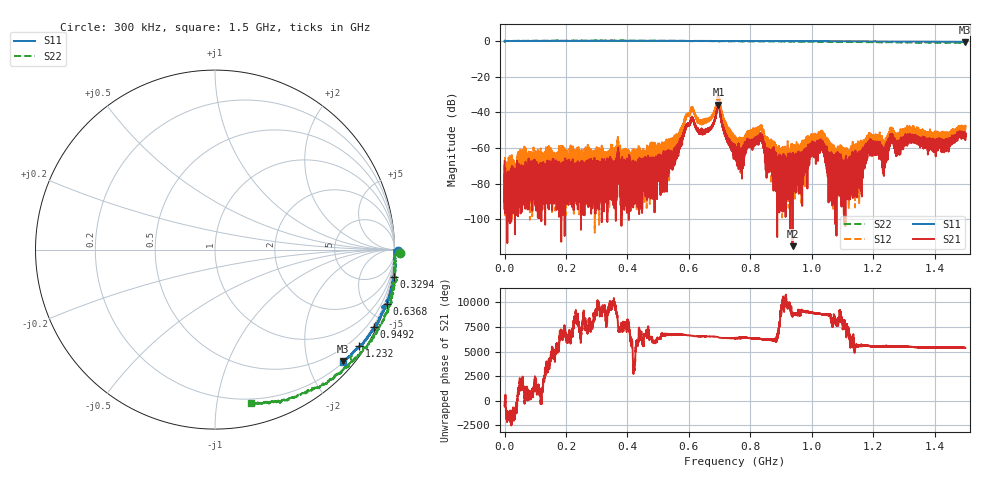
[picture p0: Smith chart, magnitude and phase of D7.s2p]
!Agilent Technologies,N5230C,SG49000117,A.08.50.07
!Agilent N5230C: A.08.50.07
!Date: Thursday, December 07, 2023 06:12:33
!Correction: S11(Full 2 Port(1,2))
!S21(Full 2 Port(1,2))
!S12(Full 2 Port(1,2))
!S22(Full 2 Port(1,2))
!S2P File: Measurements: S11, S21, S12, S22:
# Hz S  RI  R 50
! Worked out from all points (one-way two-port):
!   20001 points, 300 kHz to 1.5 GHz, reference 50 ohm
!   highest |S21| = -35.68 dB at 696.2 MHz (marker M1); lowest = -115.0 dB at 937.3 MHz (marker M2)
!   lowest |S11| = -0.5 dB at 1.497 GHz (marker M3), VSWR 34.57, Z = 11.6 - j132 ohm
!   |S11| at or under -10 dB: nowhere
!   |S22| runs from -1.2 to 0.3 dB; largest |S21 - S12| = 0.015
!   S11 on the Smith chart (normalised r, x): 300 kHz: open; 329.4 MHz: -1, -13; 636.8 MHz: -0.07, -6.52; 949.2 MHz: 0.13, -4.34; 1.232 GHz: 0.19, -3.28; 1.5 GHz: 0.22, -2.65
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300000  1.017 -0.00967  -0.000374 -0.00021  0.000124 0.000302  1.033 -0.0165
2.503e8  1.003 -0.1221  0.000134 -7.56e-05  -0.000109 0.000195  0.9925 -0.2365
3.294092e8  0.9985 -0.1519  0.000221 -9.28e-05  -1.08e-05 0.000151  0.9718 -0.302
5.00225e8  0.9787 -0.2358  -0.000243 -0.000547  -0.000483 -0.000567  0.9004 -0.4623
5.506149e8  0.9722 -0.2602  -7.06e-05 -0.000566  -0.00126 -0.00152  0.8679 -0.5126
6.080534e8  0.9553 -0.2874  -0.00603 0.00301  -0.0101 0.00789  0.8302 -0.547
6.368477e8  0.9569 -0.3004  0.000349 0.00288  0.00162 0.00557  0.8139 -0.5729
6.961608e8  0.9328 -0.3181  0.0157 -0.00481  0.0262 -0.0151  0.7555 -0.5936
7.5015e8  0.9353 -0.3484  0.00024 -0.00113  -0.000447 -0.00107  0.746 -0.6486
8.324085e8  0.9136 -0.3867  -0.00208 -4.04e-05  -0.00369 0.000614  0.6826 -0.695
8.923965e8  0.9016 -0.412  7.38e-05 0.00045  -9.39e-05 -0.0002  0.6372 -0.724
9.373126e8  0.8921 -0.4284  -6.72e-07 1.65e-06  -0.000334 0.000138  0.6116 -0.7486
9.492352e8  0.8871 -0.4317  -0.000461 0.000101  -0.000539 0.000699  0.5992 -0.7518
1.00015e9  0.8762 -0.451  0.000743 -0.000538  0.00123 -0.00211  0.5644 -0.773
1.035168e9  0.868 -0.4632  -0.000951 0.000392  -0.00169 0.00147  0.5416 -0.7775
1.080159e9  0.8534 -0.483  -0.000308 0.00034  -0.00013 0.000539  0.5058 -0.7952
1.140747e9  0.8321 -0.5125  -0.000132 -0.000193  -0.000291 0.000112  0.4491 -0.8206
1.189112e9  0.8172 -0.5297  -0.0012 0.000522  -0.00155 0.00061  0.4071 -0.8342
1.231854e9  0.805 -0.5392  -0.000713 0.000494  -0.000329 0.000857  0.3765 -0.8388
1.250075e9  0.7969 -0.5455  -0.00127 0.000446  -0.00118 0.000547  0.3649 -0.849
1.497451e9  0.7108 -0.6209  0.00212 -2.03e-05  0.00268 -0.0017  0.1983 -0.8596
1.5e9  0.7124 -0.6224  0.00214 -0.0011  0.00295 -0.00247  0.2002 -0.852
